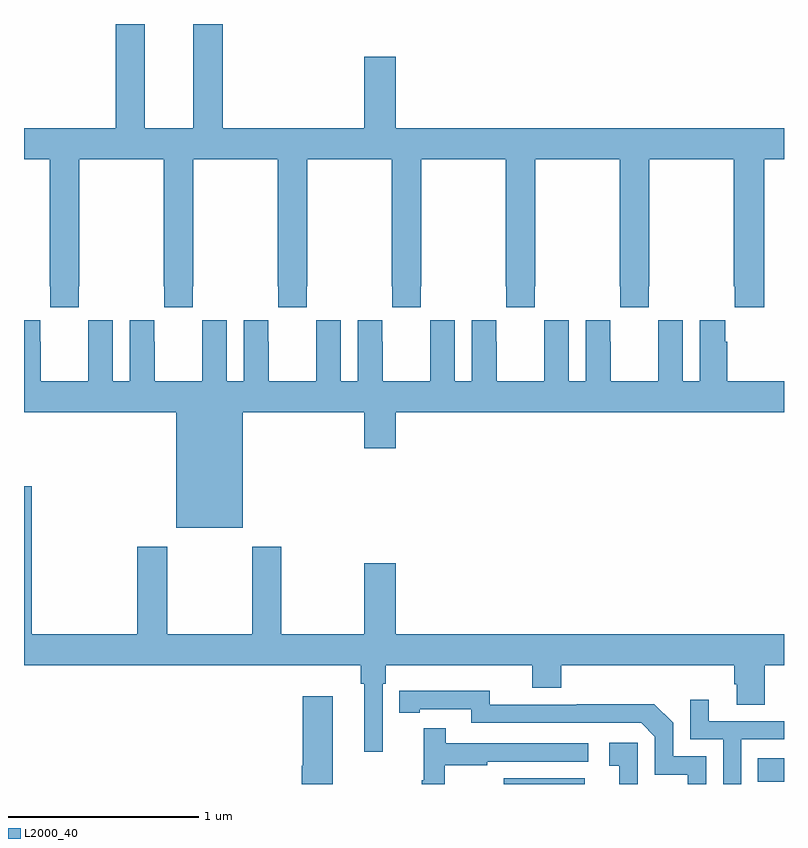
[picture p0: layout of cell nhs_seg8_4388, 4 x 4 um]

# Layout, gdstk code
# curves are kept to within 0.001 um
import gdstk
lib = gdstk.Library(unit=1e-6, precision=1e-09)
def R(c, l, rs):  # rectangles x0, y0, x1, y1
    for r in rs: c.add(gdstk.rectangle(r[:2], r[2:], *l))
def P(c, l, *ps):  # polygons
    for p in ps: c.add(gdstk.Polygon(p, *l))
L2000_40 = (2000, 40)

nhs_seg8_4388 = lib.new_cell('nhs_seg8_4388')
R(nhs_seg8_4388, L2000_40, [(381.525,1091.9,381.952,1091.929), (382.861,1091.913,383,1092.036)])
P(nhs_seg8_4388, L2000_40, [(379.287,1094.521),(379.29,1094.521),(379.29,1095.188),(379.735,1095.188),(379.735,1094.521),(379.737,1094.521),(379.737,1094.409),(379.887,1094.409),(379.887,1094.521),(379.89,1094.521),(379.89,1095.188),(380.335,1095.188),(380.335,1094.521),(380.337,1094.521),(380.337,1094.409),(380.487,1094.409),(380.487,1094.521),(380.49,1094.521),(380.49,1095.188),(380.935,1095.188),(380.935,1094.521),(380.937,1094.521),(380.937,1094.409),(381.087,1094.409),(381.087,1094.521),(381.09,1094.521),(381.09,1095.188),(381.535,1095.188),(381.535,1094.521),(381.537,1094.521),(381.537,1094.409),(381.687,1094.409),(381.687,1094.521),(381.69,1094.521),(381.69,1095.188),(382.135,1095.188),(382.135,1094.521),(382.137,1094.521),(382.137,1094.409),(382.287,1094.409),(382.287,1094.521),(382.29,1094.521),(382.29,1095.188),(382.735,1095.188),(382.735,1094.521),(382.741,1094.521),(382.741,1094.409),(382.895,1094.409),(382.895,1095.188),(383,1095.188),(383,1095.352),(380.956,1095.352),(380.956,1095.727),(380.792,1095.727),(380.792,1095.352),(380.045,1095.352),(380.045,1095.9),(379.892,1095.9),(379.892,1095.352),(379.636,1095.352),(379.636,1095.9),(379.484,1095.9),(379.484,1095.352),(379,1095.352),(379,1095.188),(379.135,1095.188),(379.135,1094.521),(379.137,1094.521),(379.137,1094.409),(379.287,1094.409)],
  [(380.956,1093.856),(383,1093.856),(383,1094.02),(382.7,1094.02),(382.7,1094.228),(382.69,1094.228),(382.69,1094.341),(382.556,1094.341),(382.556,1094.02),(382.468,1094.02),(382.468,1094.341),(382.338,1094.341),(382.338,1094.228),(382.337,1094.228),(382.337,1094.02),(382.087,1094.02),(382.087,1094.228),(382.086,1094.228),(382.086,1094.341),(381.956,1094.341),(381.956,1094.02),(381.868,1094.02),(381.868,1094.341),(381.738,1094.341),(381.738,1094.228),(381.737,1094.228),(381.737,1094.02),(381.487,1094.02),(381.487,1094.228),(381.486,1094.228),(381.486,1094.341),(381.356,1094.341),(381.356,1094.02),(381.268,1094.02),(381.268,1094.341),(381.138,1094.341),(381.138,1094.228),(381.137,1094.228),(381.137,1094.02),(380.887,1094.02),(380.887,1094.228),(380.886,1094.228),(380.886,1094.341),(380.756,1094.341),(380.756,1094.02),(380.668,1094.02),(380.668,1094.341),(380.538,1094.341),(380.538,1094.228),(380.537,1094.228),(380.537,1094.02),(380.287,1094.02),(380.287,1094.228),(380.286,1094.228),(380.286,1094.341),(380.156,1094.341),(380.156,1094.02),(380.068,1094.02),(380.068,1094.341),(379.938,1094.341),(379.938,1094.228),(379.937,1094.228),(379.937,1094.02),(379.687,1094.02),(379.687,1094.228),(379.686,1094.228),(379.686,1094.341),(379.556,1094.341),(379.556,1094.02),(379.468,1094.02),(379.468,1094.341),(379.338,1094.341),(379.338,1094.228),(379.337,1094.228),(379.337,1094.02),(379.087,1094.02),(379.087,1094.228),(379.086,1094.228),(379.086,1094.341),(379,1094.341),(379,1093.856),(379.802,1093.856),(379.802,1093.25),(380.152,1093.25),(380.152,1093.856),(380.792,1093.856),(380.792,1093.668),(380.956,1093.668)],
  [(380.889,1092.428),(380.903,1092.428),(380.903,1092.524),(381.674,1092.524),(381.674,1092.407),(381.827,1092.407),(381.827,1092.524),(382.739,1092.524),(382.739,1092.426),(382.751,1092.426),(382.751,1092.316),(382.899,1092.316),(382.899,1092.524),(383,1092.524),(383,1092.688),(380.956,1092.688),(380.956,1093.063),(380.792,1093.063),(380.792,1092.688),(380.355,1092.688),(380.355,1093.15),(380.2,1093.15),(380.2,1092.688),(379.755,1092.688),(379.755,1093.15),(379.595,1093.15),(379.595,1092.688),(379.04,1092.688),(379.04,1093.468),(379,1093.468),(379,1092.524),(380.773,1092.524),(380.773,1092.428),(380.792,1092.428),(380.792,1092.069),(380.889,1092.069)],
  [(382.59,1092.045),(382.416,1092.045),(382.416,1092.222),(382.318,1092.32),(381.91,1092.32),(381.91,1092.318),(381.45,1092.318),(381.45,1092.391),(380.974,1092.39),(380.974,1092.274),(381.082,1092.274),(381.082,1092.294),(381.354,1092.294),(381.354,1092.222),(382.248,1092.222),(382.32,1092.15),(382.32,1091.949),(382.493,1091.949),(382.493,1091.9),(382.59,1091.9)],
  [(380.626,1092.361),(380.468,1092.361),(380.468,1091.997),(380.462,1091.997),(380.462,1091.9),(380.626,1091.9)],
  [(382.776,1092.135),(383,1092.135),(383,1092.231),(382.603,1092.231),(382.603,1092.343),(382.506,1092.343),(382.506,1092.135),(382.68,1092.135),(382.68,1091.9),(382.776,1091.9)],
  [(381.214,1091.998),(381.437,1091.998),(381.437,1092.018),(381.97,1092.018),(381.97,1092.114),(381.221,1092.114),(381.221,1092.193),(381.104,1092.193),(381.104,1091.921),(381.093,1091.921),(381.093,1091.9),(381.214,1091.9)],
  [(382.23,1092.118),(382.08,1092.118),(382.08,1091.997),(382.133,1091.997),(382.133,1091.9),(382.23,1091.9)])

lib.write_gds('nhs_seg8_4388.gds')
